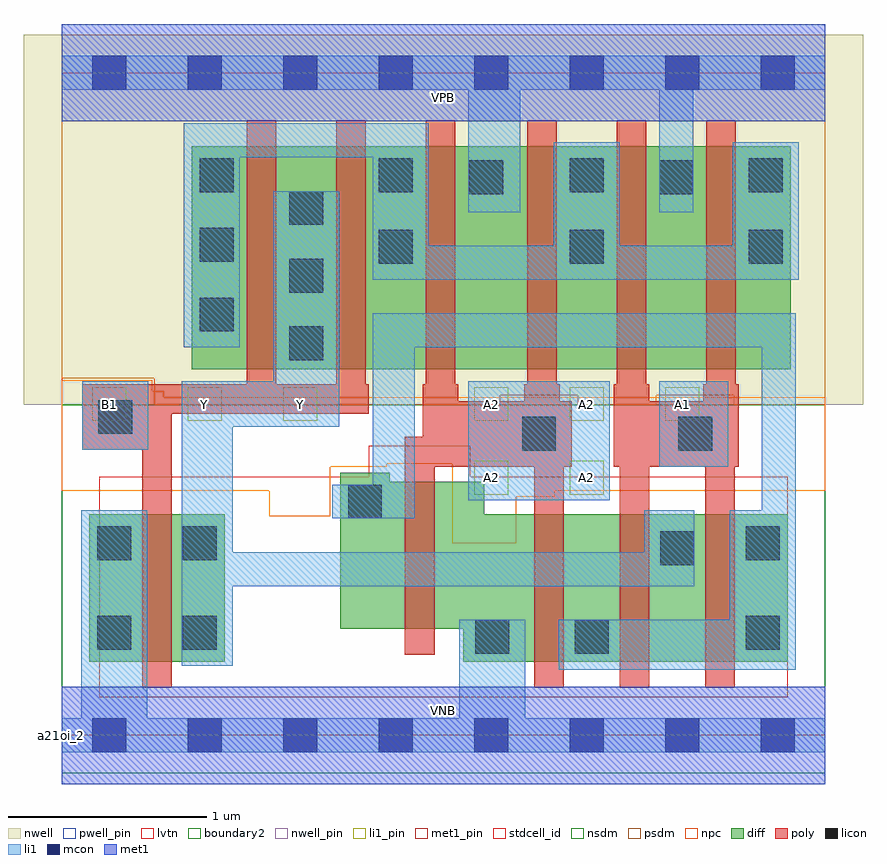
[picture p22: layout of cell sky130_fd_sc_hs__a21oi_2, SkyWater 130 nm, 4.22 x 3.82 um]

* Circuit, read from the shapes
.subckt sky130_fd_sc_hs__a21oi_2 A1 A2 B1 VGND VNB VPB VPWR Y
XM1 Y B1 VGND VNB sky130_fd_pr__nfet_01v8_lvt w=0.74 l=0.15
XM2 VGND A2 n1 VNB sky130_fd_pr__nfet_01v8_lvt w=0.74 l=0.15 m=2
XM3 Y A1 n1 VNB sky130_fd_pr__nfet_01v8_lvt w=0.74 l=0.15 m=2
XM4 Y B1 n2 VPB sky130_fd_pr__pfet_01v8 w=1.12 l=0.15 m=2
XM5 VPWR A2 n2 VPB sky130_fd_pr__pfet_01v8 w=1.12 l=0.15 m=2
XM6 VPWR A1 n2 VPB sky130_fd_pr__pfet_01v8 w=1.12 l=0.15 m=2
.ends

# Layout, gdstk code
import gdstk
lib = gdstk.Library(unit=1e-6, precision=1e-09)
def R(c, l, rs):  # rectangles x0, y0, x1, y1
    for r in rs: c.add(gdstk.rectangle(r[:2], r[2:], *l))
def A(c, l, x, y, w, h, nx, ny, dx, dy):  # array of equal rectangles
    R(c, l, [(x+i*dx, y+j*dy, x+i*dx+w, y+j*dy+h) for i in range(nx) for j in range(ny)])
def P(c, l, *ps):  # polygons
    for p in ps: c.add(gdstk.Polygon(p, *l))
nwell_pin = (64, 16)
nwell = (64, 20)
diff = (65, 20)
poly = (66, 20)
licon = (66, 44)
li1_pin = (67, 16)
li1 = (67, 20)
mcon = (67, 44)
met1_pin = (68, 16)
met1 = (68, 20)
stdcell_id = (81, 4)
nsdm = (93, 44)
psdm = (94, 20)
npc = (95, 20)
pwell_pin = (122, 16)
lvtn = (125, 44)
boundary2 = (236, 0)

sky130_fd_sc_hs__a21oi_2 = lib.new_cell('sky130_fd_sc_hs__a21oi_2')
R(sky130_fd_sc_hs__a21oi_2, nwell_pin, [(0,3.085,3.84,3.33)])
R(sky130_fd_sc_hs__a21oi_2, nwell, [(-0.19,1.66,4.03,3.52)])
R(sky130_fd_sc_hs__a21oi_2, diff, [(0.14,0.37,0.82,1.11), (0.655,1.84,3.665,2.96)])
P(sky130_fd_sc_hs__a21oi_2, diff, [(3.65,1.11),(2.125,1.11),(2.125,1.275),(1.65,1.275),(1.65,1.32),(1.4,1.32),(1.4,0.535),(2.02,0.535),(2.02,0.37),(3.65,0.37)])
P(sky130_fd_sc_hs__a21oi_2, poly, [(1.545,1.765),(1.53,1.765),(1.53,3.09),(1.38,3.09),(1.38,1.765),(1.08,1.765),(1.08,3.09),(0.93,3.09),(0.93,1.765),(0.105,1.765),(0.105,1.435),(0.405,1.435),(0.405,0.24),(0.555,0.24),(0.555,1.615),(1.545,1.615)],
  [(2.565,1.68),(2.505,1.68),(2.505,1.765),(2.49,1.765),(2.49,3.09),(2.34,3.09),(2.34,1.765),(2.325,1.765),(2.325,1.68),(1.995,1.68),(1.995,1.765),(1.98,1.765),(1.98,3.09),(1.83,3.09),(1.83,1.765),(1.815,1.765),(1.815,1.5),(1.725,1.5),(1.725,0.405),(1.875,0.405),(1.875,1.35),(2.375,1.35),(2.375,0.24),(2.525,0.24),(2.525,1.35),(2.565,1.35)],
  [(3.405,1.765),(3.39,1.765),(3.39,3.09),(3.24,3.09),(3.24,1.765),(3.225,1.765),(3.225,1.68),(2.955,1.68),(2.955,1.765),(2.94,1.765),(2.94,3.09),(2.79,3.09),(2.79,1.765),(2.775,1.765),(2.775,1.35),(2.805,1.35),(2.805,0.24),(2.955,0.24),(2.955,1.35),(3.235,1.35),(3.235,0.24),(3.385,0.24),(3.385,1.35),(3.405,1.35)])
A(sky130_fd_sc_hs__a21oi_2, licon, 1.145, 1.885, 0.17, 0.17, 1, 3, 0, 0.34)
A(sky130_fd_sc_hs__a21oi_2, licon, 0.695, 2.03, 0.17, 0.17, 1, 3, 0, 0.35)
R(sky130_fd_sc_hs__a21oi_2, licon, [(2.08,0.41,2.25,0.58), (2.58,0.41,2.75,0.58), (0.18,0.43,0.35,0.6), (0.61,0.43,0.78,0.6), (3.44,0.43,3.61,0.6), (3.01,0.855,3.18,1.025), (0.18,0.88,0.35,1.05), (0.61,0.88,0.78,1.05), (3.44,0.88,3.61,1.05), (1.44,1.09,1.61,1.26), (2.315,1.43,2.485,1.6), (3.1,1.43,3.27,1.6), (0.185,1.515,0.355,1.685), (1.595,2.37,1.765,2.54), (2.555,2.37,2.725,2.54), (3.455,2.37,3.625,2.54), (2.05,2.72,2.22,2.89), (3.005,2.72,3.175,2.89), (1.595,2.73,1.765,2.9), (2.555,2.73,2.725,2.9), (3.455,2.73,3.625,2.9)])
A(sky130_fd_sc_hs__a21oi_2, li1_pin, 0.155, 1.58, 0.17, 0.17, 3, 1, 0.48, 0)
A(sky130_fd_sc_hs__a21oi_2, li1_pin, 2.075, 1.58, 0.17, 0.17, 3, 1, 0.48, 0)
R(sky130_fd_sc_hs__a21oi_2, li1_pin, [(2.075,1.21,2.245,1.38), (2.555,1.21,2.725,1.38)])
R(sky130_fd_sc_hs__a21oi_2, li1, [(2.045,1.18,2.755,1.78), (3.005,1.35,3.35,1.78), (0.105,1.435,0.435,1.78)])
P(sky130_fd_sc_hs__a21oi_2, li1, [(3.005,2.63),(3.005,3.245),(2.305,3.245),(2.305,2.63),(2.045,2.63),(2.045,3.245),(0,3.245),(0,3.415),(3.84,3.415),(3.84,3.245),(3.175,3.245),(3.175,2.63)],
  [(0.1,0.085),(0.1,1.13),(0.43,1.13),(0.43,0.085),(2,0.085),(2,0.58),(2.33,0.58),(2.33,0.085),(3.84,0.085),(3.84,-0.085),(0,-0.085),(0,0.085)],
  [(0.605,0.35),(0.605,1.78),(1.065,1.78),(1.065,2.735),(1.395,2.735),(1.395,1.55),(0.86,1.55),(0.86,0.92),(2.93,0.92),(2.93,1.13),(3.18,1.13),(3.18,0.75),(0.86,0.75),(0.86,0.35)],
  [(1.565,2.12),(3.69,2.12),(3.69,0.33),(2.5,0.33),(2.5,0.58),(3.36,0.58),(3.36,1.13),(3.52,1.13),(3.52,1.95),(1.775,1.95),(1.775,1.09),(1.36,1.09),(1.36,1.26),(1.565,1.26)],
  [(2.475,2.46),(2.475,2.98),(2.805,2.98),(2.805,2.46),(3.375,2.46),(3.375,2.98),(3.705,2.98),(3.705,2.29),(1.565,2.29),(1.565,2.905),(0.895,2.905),(0.895,1.95),(0.615,1.95),(0.615,3.075),(1.845,3.075),(1.845,2.46)])
A(sky130_fd_sc_hs__a21oi_2, mcon, 0.155, -0.085, 0.17, 0.17, 8, 2, 0.48, 3.33)
R(sky130_fd_sc_hs__a21oi_2, met1_pin, [(0,0,3.84,0.245), (0,3.085,3.84,3.33)])
R(sky130_fd_sc_hs__a21oi_2, met1, [(0,-0.245,3.84,0.245), (0,3.085,3.84,3.575)])
R(sky130_fd_sc_hs__a21oi_2, stdcell_id, [(0,0,3.84,3.33)])
R(sky130_fd_sc_hs__a21oi_2, nsdm, [(0,-0.19,3.84,1.66)])
P(sky130_fd_sc_hs__a21oi_2, psdm, [(3.84,3.52),(0,3.52),(0,1.795),(0.465,1.795),(0.465,1.66),(2.205,1.66),(2.205,1.71),(2.595,1.71),(2.595,1.66),(2.99,1.66),(2.99,1.71),(3.38,1.71),(3.38,1.66),(3.84,1.66)])
P(sky130_fd_sc_hs__a21oi_2, npc, [(3.84,1.7),(0.515,1.7),(0.515,1.73),(0.455,1.73),(0.455,1.785),(0,1.785),(0,1.23),(1.045,1.23),(1.045,1.1),(1.35,1.1),(1.35,1.35),(1.635,1.35),(1.635,1.365),(1.965,1.365),(1.965,0.965),(2.285,0.965),(2.285,1.2),(2.48,1.2),(2.48,1.23),(3.84,1.23)])
R(sky130_fd_sc_hs__a21oi_2, pwell_pin, [(0,0,3.84,0.245)])
P(sky130_fd_sc_hs__a21oi_2, lvtn, [(3.65,1.3),(2.055,1.3),(2.055,1.455),(1.545,1.455),(1.545,1.3),(0.19,1.3),(0.19,0.19),(3.65,0.19)])
R(sky130_fd_sc_hs__a21oi_2, boundary2, [(0,0,3.84,3.33)])
sky130_fd_sc_hs__a21oi_2.add(gdstk.Label('a21oi_2', (0,0), layer=83, texttype=44))
sky130_fd_sc_hs__a21oi_2.add(gdstk.Label('VNB', (1.92,0.123), layer=64, texttype=59))
sky130_fd_sc_hs__a21oi_2.add(gdstk.Label('VPB', (1.92,3.208), layer=64, texttype=5))
sky130_fd_sc_hs__a21oi_2.add(gdstk.Label('VPWR', (1.92,3.208), layer=68, texttype=5))
sky130_fd_sc_hs__a21oi_2.add(gdstk.Label('VGND', (1.92,0.123), layer=68, texttype=5))
sky130_fd_sc_hs__a21oi_2.add(gdstk.Label('Y', (0.72,1.665), layer=67, texttype=5))
sky130_fd_sc_hs__a21oi_2.add(gdstk.Label('Y', (1.2,1.665), layer=67, texttype=5))
sky130_fd_sc_hs__a21oi_2.add(gdstk.Label('B1', (0.24,1.665), layer=67, texttype=5))
sky130_fd_sc_hs__a21oi_2.add(gdstk.Label('A2', (2.16,1.295), layer=67, texttype=5))
sky130_fd_sc_hs__a21oi_2.add(gdstk.Label('A2', (2.16,1.665), layer=67, texttype=5))
sky130_fd_sc_hs__a21oi_2.add(gdstk.Label('A2', (2.64,1.295), layer=67, texttype=5))
sky130_fd_sc_hs__a21oi_2.add(gdstk.Label('A2', (2.64,1.665), layer=67, texttype=5))
sky130_fd_sc_hs__a21oi_2.add(gdstk.Label('A1', (3.12,1.665), layer=67, texttype=5))

lib.write_gds('sky130_fd_sc_hs__a21oi_2.gds')
